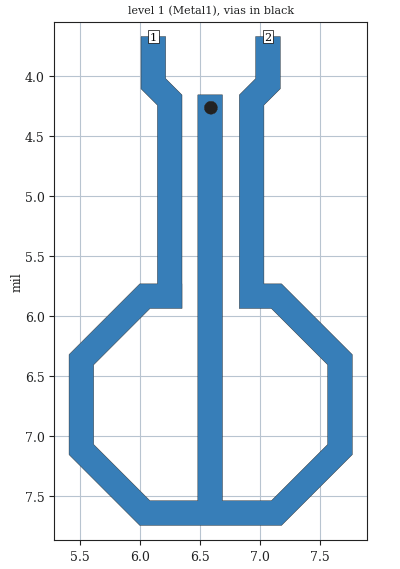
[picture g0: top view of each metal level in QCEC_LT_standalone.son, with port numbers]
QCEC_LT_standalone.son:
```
FTYP SONPROJ 19 ! Sonnet Project File
VER 18.58
HEADER
LIC No License
DAT 07/05/2026 13:56:11
BUILT_BY_CREATED xgeom 18.58 05/27/2026 15:17:57
BUILT_BY_SAVED sonnet 18.58
MDATE 07/05/2026 13:56:09
HDATE 07/05/2026 13:56:09
END HEADER
DIM
ANG DEG
CAP PF
CON /OH
FREQ GHZ
IND NH
LNG MIL
RES OH
END DIM
CONTROL
VARSWP
OPTIONS  -bd
SPEED 0
SUBSPLAM Y 20
EDGECHECK Y 1
CFMAX Y 60.0
CACHE_ABS 2
Q_ACC Y
DET_ABS_RES Y
END CONTROL
GEO
TMET "Lossless" 0 SUP 0 0 0 0
BMET "Lossless" 0 SUP 0 0 0 0
MET "Copper" 1 NOR 58000000 0.5 0.05 
MET "Aluminum" 2 NOR 37200000 0.5 0.035 
MET "Copper" 1 VOL 58000000 SOLID 0
MET "Via1" 2 VOL INF 0
BOX 2 12.5 11 1000 880 20 0
      0.2 1 1 0 0 0 0 "Air"
      0.4 3.9 1 0.002 0 0 0 "Silicon Dioxide"
      12 11.9 1 0.05 0 0.00044 0 "Silicon (intrinsic)"
TECHLAY METAL Metal2 Copper -3 -65534 
0 0 0 N 298 1 1 100 100 0 0 0 Y
END
END
TECHLAY METAL Metal1 Copper -2 -65534 
1 0 1 N 301 1 1 100 100 0 0 0 Y
END
END
TECHLAY VIA Via1 <UNSPECIFIED> -4 -65534 
VIA POLYGON
1 0 2 N 309 1 1 100 100 0 0 0 Y
TOLEVEL GND RING NOCOVERS
END
END
LORGN 0 11 U 
POR1 CUP Auto
GNDREF FLOAT
TERMW FEED
POLY 259 1
42
1 50 0 0 0 6.11173096 3.67436728 
CUPGRP "Auto" LOCAL
ID 303
END
POR1 CUP Auto
GNDREF FLOAT
TERMW FEED
POLY 259 1
14
2 50 0 0 0 7.06516168 3.67436728 
CUPGRP "Auto" LOCAL
ID 305
END
NUM 2
1 65 1 N 259 1 1 100 100 0 0 0 Y
TLAYNAM Metal1 INH
7.7665572 7.15214568
7.7665572 7.15214568
7.7665572 7.15214568
7.7665572 6.3198148
7.7665572 6.3198148
7.7665572 6.3198148
7.1779628 5.73152776
7.1779628 5.73152776
7.1779628 5.73152776
7.03135208 5.73152776
7.03135208 4.24482744
7.16751256 4.10897432
7.16751256 4.10897432
7.16751256 4.10897432
7.16751256 3.67436728
6.9628108 3.67436728
6.9628108 4.02414296
6.82695768 4.15999608
6.82695768 4.15999608
6.82695768 5.9356148
6.82665032 5.9356148
6.82665032 5.93592216
7.09313144 5.93592216
7.56185544 6.40464616
7.56185544 7.06731432
7.09313144 7.53603832
7.08175912 7.53603832
7.08175912 7.53603832
6.68649416 7.53603832
6.68649416 4.159074
6.4817924 4.159074
6.4817924 7.53603832
6.0837612 7.53603832
5.6150372 7.06731432
5.6150372 6.40464616
6.0837612 5.93592216
6.35054968 5.93592216
6.35054968 5.73152776
6.34993496 5.73152776
6.34993496 4.15999608
6.34993496 4.15999608
6.21408184 4.02414296
6.21408184 3.67436728
6.00938008 3.67436728
6.00938008 4.10897432
6.00938008 4.10897432
6.00938008 4.10897432
6.14554056 4.24482744
6.14554056 5.73152776
5.99892984 5.73152776
5.99892984 5.73152776
5.99892984 5.73152776
5.4106428 6.3198148
5.4106428 6.3198148
5.4106428 6.3198148
5.4106428 7.15214568
5.4106428 7.15214568
5.4106428 7.15214568
5.99892984 7.74043272
5.99892984 7.74043272
6.09544088 7.74043272
6.09544088 7.74043272
7.1779628 7.74043272
7.1779628 7.74043272
7.7665572 7.15214568
END
VIA POLYGON
1 37 2 N 285 1 1 100 100 0 0 0 Y
TOLEVEL GND RING NOCOVERS
TLAYNAM Via1 INH
6.644190487 4.271257009
6.6425634 4.280535439
6.63933612 4.289370118
6.63462967 4.297519
6.628591967 4.304740039
6.621370928 4.310777742
6.613222046 4.315484192
6.60437392 4.318711472
6.595108937 4.320338559
6.585696037 4.320338559
6.576431054 4.318711472
6.567582928 4.315484192
6.559434046 4.310777742
6.552226454 4.304740039
6.546175304 4.297519
6.541468854 4.289370118
6.538255021 4.280535439
6.536614487 4.271257009
6.536614487 4.261844109
6.538255021 4.252579126
6.541468854 4.243731
6.546175304 4.235582118
6.552226454 4.228374526
6.559434046 4.222323376
6.567582928 4.217616926
6.576431054 4.214403093
6.585696037 4.212762559
6.595108937 4.212762559
6.60437392 4.214403093
6.613222046 4.217616926
6.621370928 4.222323376
6.628591967 4.228374526
6.63462967 4.235582118
6.63933612 4.243731
6.6425634 4.252579126
6.644190487 4.261844109
6.644190487 4.271257009
END
END GEO
OPT
MAX 100
END OPT
VARSWP
ENABLED Y
FREQ Y AY ABS_ENTRY 0.0 60.0 -1 100 
FREQ Y AN SWEEP 25.0 60.0 5.0
END
END VARSWP
TRANSLATOR
GDSEXPORT
UseTLs true
SepObj true
SepMat true
DivideMulti false
Circles false
CircleType inscribed
CircleSize 0
KeepMetals true
KeepVias true
KeepViaPads true
KeepBricks true
KeepEdgeVias true
KeepParent true
ConvertParent false
AllEdgeViasAsVia false
END
END TRANSLATOR
3DOPTIONS
GLOBAL 9
ALL 3 1
END 3DOPTIONS
```
